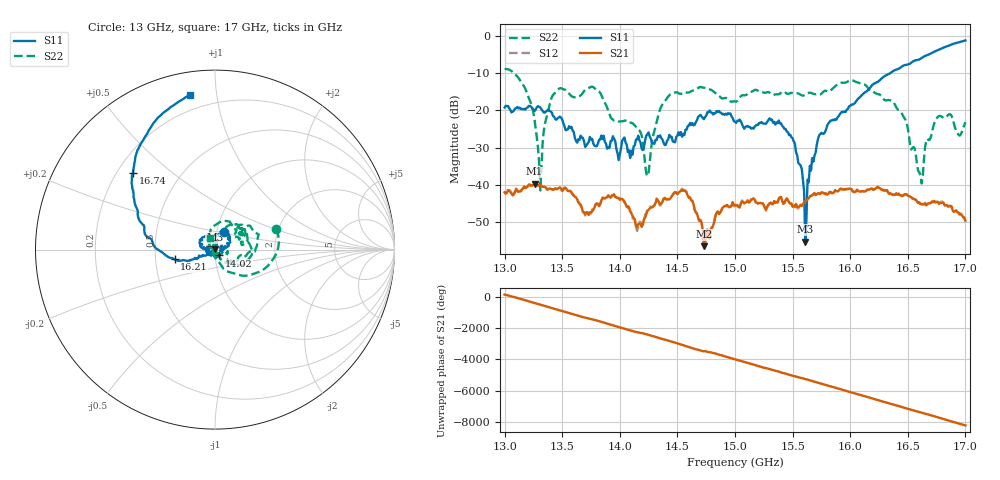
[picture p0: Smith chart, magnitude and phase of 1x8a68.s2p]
!Keysight Technologies,P9374A,MY57211807,A.19.30.04
!Date: Friday, May 08, 2026 14:16:47
!Correction: S11(C  2-Port  )
!S21(C  2-Port  )
!S12(C  2-Port  )
!S22(C  2-Port  )
!S2P File: Measurements: S11, S21, S12, S22:
# Hz S  dB  R 50
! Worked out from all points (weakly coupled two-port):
!   401 points, 13 GHz to 17 GHz, reference 50 ohm
!   highest |S21| = -39.71 dB at 13.26 GHz (marker M1); lowest = -56.5 dB at 14.73 GHz (marker M2)
!   lowest |S11| = -55.2 dB at 15.61 GHz (marker M3), VSWR 1.00, Z = 49.9 + j0.138 ohm
!   |S11| at or under -10 dB: start of sweep to 16.35 GHz
!   |S22| runs from -41.5 to -8.8 dB; largest |S21 - S12| = 0.00058
!   S11 on the Smith chart (normalised r, x): 13 GHz: 1.09, +0.21; 14.02 GHz: 1.04, -0.07; 16.21 GHz: 0.63, -0.07; 16.74 GHz: 0.26, +0.37; 17 GHz: 0.12, +0.84
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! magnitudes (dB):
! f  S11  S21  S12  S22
! 13 GHz  -19.2  -42.0  -41.9  -8.9
! 13.26 GHz  -20.1  -39.7  -39.8  -22.5
! 13.31 GHz  -19.2  -40.1  -40.1  -41.5
! 13.42 GHz  -21.5  -41.4  -41.3  -15.8
! 13.67 GHz  -27.3  -46.1  -46.2  -15.7
! 14.02 GHz  -28.2  -43.8  -43.7  -22.9
! 14.17 GHz  -28.0  -50.4  -50.0  -25.4
! 14.24 GHz  -26.4  -47.0  -46.6  -37.6
! 14.34 GHz  -27.1  -44.6  -44.8  -20.6
! 14.56 GHz  -26.7  -41.5  -41.4  -15.1
! 14.73 GHz  -22.3  -56.5  -56.1  -13.9
! 15 GHz  -23.0  -45.4  -45.7  -17.6
! 15.4 GHz  -23.4  -43.3  -43.1  -15.2
! 15.52 GHz  -28.9  -45.6  -45.9  -15.4
! 15.61 GHz  -55.2  -44.4  -44.4  -15.8
! 15.67 GHz  -32.8  -42.8  -42.7  -15.4
! 16.21 GHz  -12.7  -41.2  -41.2  -15.2
! 16.34 GHz  -10.1  -42.4  -42.4  -17.2
! 16.47 GHz  -7.8  -42.6  -42.7  -22.0
! 16.61 GHz  -6.1  -45.1  -45.2  -37.4
! 16.74 GHz  -4.1  -44.8  -44.6  -22.6
! 17 GHz  -1.2  -49.6  -49.6  -23.1
